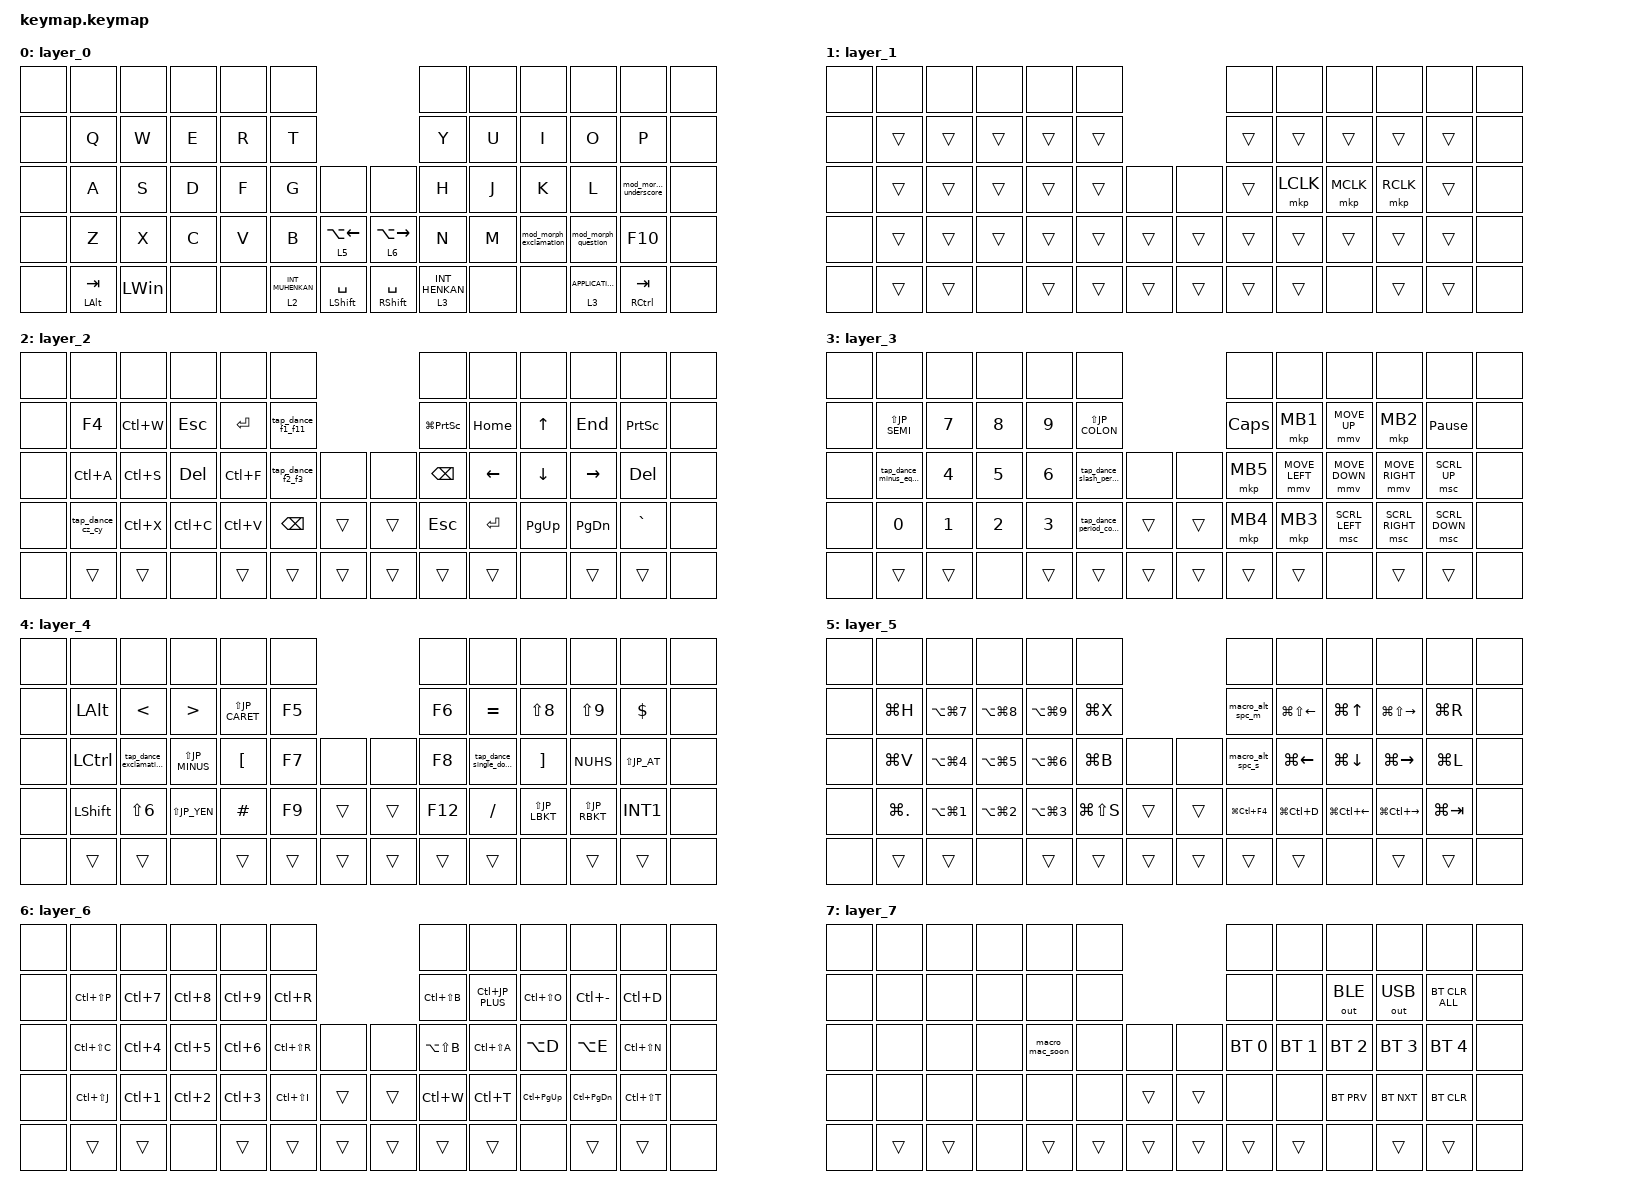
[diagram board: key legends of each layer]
#include <behaviors.dtsi>
#include <dt-bindings/zmk/bt.h>
#include <dt-bindings/zmk/keys.h>
#include <dt-bindings/zmk/outputs.h>
#include <dt-bindings/zmk/pointing.h>

/* 日本語109キーボード用定義 */
#define JP_ZKHK  GRAVE        // Zenkaku ↔ Hankaku ↔ Kanji (半角 ↔ 全角 ↔ 漢字)
#define JP_MINUS MINUS        // -
#define JP_CARET EQUAL        // ^
#define JP_YEN   INT3         // ¥
#define JP_AT    LBKT         // @
#define JP_LBKT  RBKT         // [
#define JP_EISU  CAPS         // Eisū (英数)
#define JP_SEMI  SEMI         // ;
#define JP_COLON SQT          // :
#define JP_RBKT  NUHS         // ]
#define JP_COMMA COMMA        // ,
#define JP_DOT   DOT          // .
#define JP_SLASH SLASH        // /
#define JP_BSLH  INT1         // (backslash)
#define JP_MHEN  INT5         // Muhenkan (無変換)
#define JP_HENK  INT4         // Henkan (変換)
#define JP_KANA  INT2         // Katakana ↔ Hiragana ↔ Rōmaji (カタカナ ↔ ひらがな ↔ ローマ字)
#define JP_EXCL  LS(N1)       // !
#define JP_DQT   LS(N2)       // "
#define JP_HASH  LS(N3)       // #
#define JP_DLLR  LS(N4)       // $
#define JP_PRCNT LS(N5)       // %
#define JP_AMPS  LS(N6)       // &
#define JP_SQT   LS(N7)       // '
#define JP_LPAR  LS(N8)       // (
#define JP_RPAR  LS(N9)       // )
#define JP_EQUAL LS(JP_MINUS) // =
#define JP_TILDE LS(JP_CARET) // ~
#define JP_PIPE  LS(JP_YEN)   // |
#define JP_GRAVE LS(JP_AT)    // `
#define JP_LBRC  LS(JP_LBKT)  // {
#define JP_CAPS  LS(JP_EISU)  // Caps Lock
#define JP_PLUS  LS(JP_SEMI)  // +
#define JP_ASTRK LS(JP_COLON) // *
#define JP_RBRC  LS(JP_RBKT)  // }
#define JP_LT    LS(JP_COMMA) // <
#define JP_RT    LS(JP_DOT)   // >
#define JP_QMARK LS(JP_SLASH) // ?
#define JP_UNDER LS(JP_BSLH)  // _

&lt {
    flavor = "balanced";
    tapping-term-ms = <160>;
};

&mt {
    flavor = "balanced";
    tapping-term-ms = <160>;
};

&caps_word { continue-list = <UNDERSCORE BACKSPACE DELETE JP_UNDER>; };

/*
 * KobitoKey_QWERTY のキーマップを torabo-tsuki LP (L Layout, 66ポジション) に移植
 *
 * ポジション番号 (L Layout)
 *   0  1  2  3  4  5              6  7  8  9 10 11     <- 数字行 (未使用)
 *  12 13 14 15 16 17             18 19 20 21 22 23
 *  24 25 26 27 28 29 30       31 32 33 34 35 36 37     <- 30/31 は未使用
 *  38 39 40 41 42 43 44       45 46 47 48 49 50 51     <- 44/45 = 左右の一番内側の独立キー
 *  52 53 54 55 56 57 58       59 60 61 62 63 64 65     <- 56-58 / 59-61 = 親指キー
 *
 * KobitoKey → torabo の対応
 *   Kobito 上3段の左5列/右5列 → 13-17 / 18-22, 25-29 / 32-36, 39-43 / 46-50
 *   Kobito 最下段
 *     Alt/Tab, Win               → 53, 54
 *     &lt 5 LA(LEFT)             → 44 (左の一番内側の独立キー)
 *     &lt 2 無変換, Shift/Space  → 57, 58
 *     Shift/Space, &lt 3 変換    → 59, 60
 *     &lt 6 LA(RIGHT)            → 45 (右の一番内側の独立キー)
 *     &lt 3 App, Ctrl/Tab        → 63, 64
 */

/ {
    /*
     * コンボは layer_0 でのみ有効にする。
     * 全レイヤーで有効だと、layer_1 の中/右クリック (K/L) や layer_2 の ↓/→ を押したときに
     * コンボ判定待ち（最大50ms）が入り、反応が一瞬遅れるため。
     */
    combos {
        compatible = "zmk,combos";

        /* Kobito: S + D (11 12) */
        combo_caps_word {
            bindings = <&caps_word>;
            key-positions = <26 27>;
            layers = <0>;
        };

        /* Kobito: K + L (17 18) */
        combo_key_repeat {
            bindings = <&key_repeat>;
            key-positions = <34 35>;
            layers = <0>;
        };
    };

    behaviors {
        mod_morph_minus_underscore: mod_morph_minus_underscore {
            compatible = "zmk,behavior-mod-morph";
            label = "MOD_MORPH_MINUS_UNDERSCORE";
            bindings = <&kp MINUS>, <&kp JP_UNDER>;
            #binding-cells = <0>;
            mods = <(MOD_RSFT|MOD_LSFT)>;
        };

        tap_dance_comma_semicolon: tap_dance_comma_semicolon {
            compatible = "zmk,behavior-tap-dance";
            label = "TAP_DANCE_COMMA_SEMICOLON";
            #binding-cells = <0>;
            bindings = <&kp COMMA>, <&kp SEMICOLON>;
        };

        tap_dance_period_colon: tap_dance_period_colon {
            compatible = "zmk,behavior-tap-dance";
            label = "TAP_DANCE_PERIOD_COLON";
            #binding-cells = <0>;
            bindings = <&kp PERIOD>, <&kp JP_COLON>;
        };

        mod_morph_exclamation: mod_morph_exclamation {
            compatible = "zmk,behavior-mod-morph";
            label = "MOD_MORPH_EXCLAMATION";
            bindings = <&tap_dance_comma_semicolon>, <&kp EXCLAMATION>;
            #binding-cells = <0>;
            mods = <(MOD_RSFT|MOD_LSFT)>;
        };

        mod_morph_question: mod_morph_question {
            compatible = "zmk,behavior-mod-morph";
            label = "MOD_MORPH_QUESTION";
            bindings = <&tap_dance_period_colon>, <&kp QUESTION>;
            #binding-cells = <0>;
            mods = <(MOD_RSFT|MOD_LSFT)>;
        };

        tap_dance_f1_f11: tap_dance_f1_f11 {
            compatible = "zmk,behavior-tap-dance";
            label = "TAP_DANCE_F1_F11";
            #binding-cells = <0>;
            bindings = <&kp F1>, <&kp F11>;
        };

        tap_dance_f2_f3: tap_dance_f2_f3 {
            compatible = "zmk,behavior-tap-dance";
            label = "TAP_DANCE_F2_F3";
            #binding-cells = <0>;
            bindings = <&kp F2>, <&kp F3>;
        };

        tap_dance_cz_cy: tap_dance_cz_cy {
            compatible = "zmk,behavior-tap-dance";
            label = "TAP_DANCE_CZ_CY";
            #binding-cells = <0>;
            bindings = <&kp LC(Z)>, <&kp LC(Y)>;
        };

        tap_dance_minus_equal: tap_dance_minus_equal {
            compatible = "zmk,behavior-tap-dance";
            label = "TAP_DANCE_MINUS_EQUAL";
            #binding-cells = <0>;
            bindings = <&kp MINUS>, <&kp JP_EQUAL>;
        };

        tap_dance_slash_percent: tap_dance_slash_percent {
            compatible = "zmk,behavior-tap-dance";
            label = "TAP_DANCE_SLASH_PERCENT";
            #binding-cells = <0>;
            bindings = <&kp SLASH>, <&kp PERCENT>;
        };

        tap_dance_exclamation_question: tap_dance_exclamation_question {
            compatible = "zmk,behavior-tap-dance";
            label = "TAP_DANCE_EXCLAMATION_QUESTION";
            #binding-cells = <0>;
            bindings = <&kp EXCLAMATION>, <&kp QUESTION>;
        };

        tap_dance_single_double: tap_dance_single_double {
            compatible = "zmk,behavior-tap-dance";
            label = "TAP_DANCE_SINGLE_DOUBLE";
            #binding-cells = <0>;
            bindings = <&kp JP_SQT>, <&kp JP_DQT>;
        };

        tap_dance_period_comma: tap_dance_period_comma {
            compatible = "zmk,behavior-tap-dance";
            label = "TAP_DANCE_PERIOD_COMMA";
            #binding-cells = <0>;
            bindings = <&kp PERIOD>, <&kp COMMA>;
        };
    };

    macros {
        macro_alt_spc_m: macro_alt_spc_m {
            compatible = "zmk,behavior-macro";
            #binding-cells = <0>;
            bindings = <&kp LA(SPACE) &kp M>;
            label = "MACRO_ALT_SPC_M";
        };

        macro_alt_spc_s: macro_alt_spc_s {
            compatible = "zmk,behavior-macro";
            #binding-cells = <0>;
            bindings = <&kp LA(SPACE) &kp S>;
            label = "MACRO_ALT_SPC_S";
        };

        macro_mac_soon: macro_mac_soon {
            compatible = "zmk,behavior-macro";
            #binding-cells = <0>;
            bindings
                = <&macro_wait_time 10>
                , <&kp LS(M) &kp A &kp C &kp SPACE &kp LS(L) &kp A &kp Y &kp E &kp R &kp SPACE &kp C &kp O &kp M &kp I &kp N &kp G &kp SPACE &kp S &kp O &kp O &kp N &kp DOT &kp DOT &kp DOT>;
            label = "MACRO_MAC_SOON";
        };
    };

    keymap {
        compatible = "zmk,keymap";

        layer_0 {
            bindings = <
&none  &none             &none         &none  &none  &none                                                                  &none             &none  &none                   &none                &none                        &none
&none  &kp Q             &kp W         &kp E  &kp R  &kp T                                                                  &kp Y             &kp U  &kp I                   &kp O                &kp P                        &none
&none  &kp A             &kp S         &kp D  &kp F  &kp G                 &none                  &none                     &kp H             &kp J  &kp K                   &kp L                &mod_morph_minus_underscore  &none
&none  &kp Z             &kp X         &kp C  &kp V  &kp B                 &lt 5 LA(LEFT_ARROW)   &lt 6 LA(RIGHT_ARROW)     &kp N             &kp M  &mod_morph_exclamation  &mod_morph_question  &kp F10                      &none
&none  &mt LEFT_ALT TAB  &kp LEFT_WIN  &none  &none  &lt 2 INT_MUHENKAN    &mt LEFT_SHIFT SPACE   &mt RIGHT_SHIFT SPACE     &lt 3 INT_HENKAN  &none  &none                   &lt 3 K_APPLICATION  &mt RIGHT_CONTROL TAB        &none
            >;
        };

        layer_1 {
            bindings = <
&none  &none   &none   &none   &none   &none                   &none   &none      &none      &none      &none   &none
&none  &trans  &trans  &trans  &trans  &trans                  &trans  &trans     &trans     &trans     &trans  &none
&none  &trans  &trans  &trans  &trans  &trans  &none   &none   &trans  &mkp LCLK  &mkp MCLK  &mkp RCLK  &trans  &none
&none  &trans  &trans  &trans  &trans  &trans  &trans  &trans  &trans  &trans     &trans     &trans     &trans  &none
&none  &trans  &trans  &none   &trans  &trans  &trans  &trans  &trans  &trans     &none      &trans     &trans  &none
            >;
        };

        layer_2 {
            bindings = <
&none  &none             &none      &none       &none      &none                              &none                &none            &none           &none            &none            &none
&none  &kp F4            &kp LC(W)  &kp ESCAPE  &kp ENTER  &tap_dance_f1_f11                  &kp LG(PRINTSCREEN)  &kp HOME         &kp UP_ARROW    &kp END          &kp PRINTSCREEN  &none
&none  &kp LC(A)         &kp LC(S)  &kp DELETE  &kp LC(F)  &tap_dance_f2_f3   &none   &none   &kp BACKSPACE        &kp LEFT_ARROW   &kp DOWN_ARROW  &kp RIGHT_ARROW  &kp DELETE       &none
&none  &tap_dance_cz_cy  &kp LC(X)  &kp LC(C)   &kp LC(V)  &kp BACKSPACE      &trans  &trans  &kp ESCAPE           &kp ENTER        &kp PAGE_UP     &kp PAGE_DOWN    &kp JP_ZKHK      &none
&none  &trans            &trans     &none       &trans     &trans             &trans  &trans  &trans               &trans           &none           &trans           &trans           &none
            >;
        };

        layer_3 {
            bindings = <
&none  &none                   &none         &none         &none         &none                                     &none          &none            &none           &none            &none            &none
&none  &kp JP_PLUS             &kp NUMBER_7  &kp NUMBER_8  &kp NUMBER_9  &kp JP_ASTRK                              &kp CAPSLOCK   &mkp MB1         &mmv MOVE_UP    &mkp MB2         &kp PAUSE_BREAK  &none
&none  &tap_dance_minus_equal  &kp NUMBER_4  &kp NUMBER_5  &kp NUMBER_6  &tap_dance_slash_percent  &none   &none   &mkp MB5       &mmv MOVE_LEFT   &mmv MOVE_DOWN  &mmv MOVE_RIGHT  &msc SCRL_UP     &none
&none  &kp NUMBER_0            &kp NUMBER_1  &kp NUMBER_2  &kp NUMBER_3  &tap_dance_period_comma   &trans  &trans  &mkp MB4       &mkp MB3         &msc SCRL_LEFT  &msc SCRL_RIGHT  &msc SCRL_DOWN   &none
&none  &trans                  &trans        &none         &trans        &trans                    &trans  &trans  &trans         &trans           &none           &trans           &trans           &none
            >;
        };

        layer_4 {
            bindings = <
&none  &none           &none                            &none             &none         &none                    &none    &none                     &none        &none        &none         &none
&none  &kp LALT        &kp LESS_THAN                    &kp GREATER_THAN  &kp JP_TILDE  &kp F5                   &kp F6   &kp JP_CARET              &kp JP_LPAR  &kp JP_RPAR  &kp DOLLAR    &none
&none  &kp LCTRL       &tap_dance_exclamation_question  &kp JP_EQUAL      &kp JP_AT     &kp F7  &none   &none    &kp F8   &tap_dance_single_double  &kp JP_LBKT  &kp JP_RBKT  &kp JP_GRAVE  &none
&none  &kp LEFT_SHIFT  &kp JP_AMPS                      &kp JP_PIPE       &kp HASH      &kp F9  &trans  &trans   &kp F12  &kp SLASH                 &kp JP_LBRC  &kp JP_RBRC  &kp JP_BSLH   &none
&none  &trans          &trans                           &none             &trans        &trans  &trans  &trans   &trans   &trans                    &none        &trans       &trans        &none
            >;
        };

        layer_5 {
            bindings = <
&none  &none        &none           &none           &none           &none                                  &none              &none             &none             &none              &none      &none
&none  &kp LG(H)    &kp LA(LG(N7))  &kp LA(LG(N8))  &kp LA(LG(N9))  &kp LG(X)                              &macro_alt_spc_m   &kp LG(LS(LEFT))  &kp LG(UP)        &kp LG(LS(RIGHT))  &kp LG(R)  &none
&none  &kp LG(V)    &kp LA(LG(N4))  &kp LA(LG(N5))  &kp LA(LG(N6))  &kp LG(B)      &none   &none           &macro_alt_spc_s   &kp LG(LEFT)      &kp LG(DOWN)      &kp LG(RIGHT)      &kp LG(L)  &none
&none  &kp LG(DOT)  &kp LA(LG(N1))  &kp LA(LG(N2))  &kp LA(LG(N3))  &kp LG(LS(S))  &trans  &trans          &kp LG(LC(F4))     &kp LG(LC(D))     &kp LG(LC(LEFT))  &kp LG(LC(RIGHT))  &kp LG(TAB)  &none
&none  &trans       &trans          &none           &trans          &trans         &trans  &trans          &trans             &trans            &none             &trans             &trans     &none
            >;
        };

        layer_6 {
            bindings = <
&none  &none          &none       &none       &none       &none                                  &none          &none            &none            &none              &none          &none
&none  &kp LC(LS(P))  &kp LC(N7)  &kp LC(N8)  &kp LC(N9)  &kp LC(R)                              &kp LC(LS(B))  &kp LC(JP_PLUS)  &kp LC(LS(O))    &kp LC(MINUS)      &kp LC(D)      &none
&none  &kp LC(LS(C))  &kp LC(N4)  &kp LC(N5)  &kp LC(N6)  &kp LC(LS(R))  &none   &none           &kp LA(LS(B))  &kp LC(LS(A))    &kp LA(D)        &kp LA(E)          &kp LC(LS(N))  &none
&none  &kp LC(LS(J))  &kp LC(N1)  &kp LC(N2)  &kp LC(N3)  &kp LC(LS(I))  &trans  &trans          &kp LC(W)      &kp LC(T)        &kp LC(PAGE_UP)  &kp LC(PAGE_DOWN)  &kp LC(LS(T))  &none
&none  &trans         &trans      &none       &trans      &trans         &trans  &trans          &trans         &trans           &none            &trans             &trans         &none
            >;
        };

        layer_7 {
            bindings = <
&none  &none   &none   &none   &none            &none                    &none         &none         &none         &none         &none           &none
&none  &none   &none   &none   &none            &none                    &none         &none         &out OUT_BLE  &out OUT_USB  &bt BT_CLR_ALL  &none
&none  &none   &none   &none   &macro_mac_soon  &none   &none   &none    &bt BT_SEL 0  &bt BT_SEL 1  &bt BT_SEL 2  &bt BT_SEL 3  &bt BT_SEL 4    &none
&none  &none   &none   &none   &none            &none   &trans  &trans   &none         &none         &bt BT_PRV    &bt BT_NXT    &bt BT_CLR      &none
&none  &trans  &trans  &none   &trans           &trans  &trans  &trans   &trans        &trans        &none         &trans        &trans          &none
            >;
        };
    };

    conditional_layers {
        compatible = "zmk,conditional-layers";

        condition_layer4 {
            if-layers = <2 3>;
            then-layer = <4>;
        };

        condition_layer7 {
            if-layers = <5 6>;
            then-layer = <7>;
        };
    };
};
